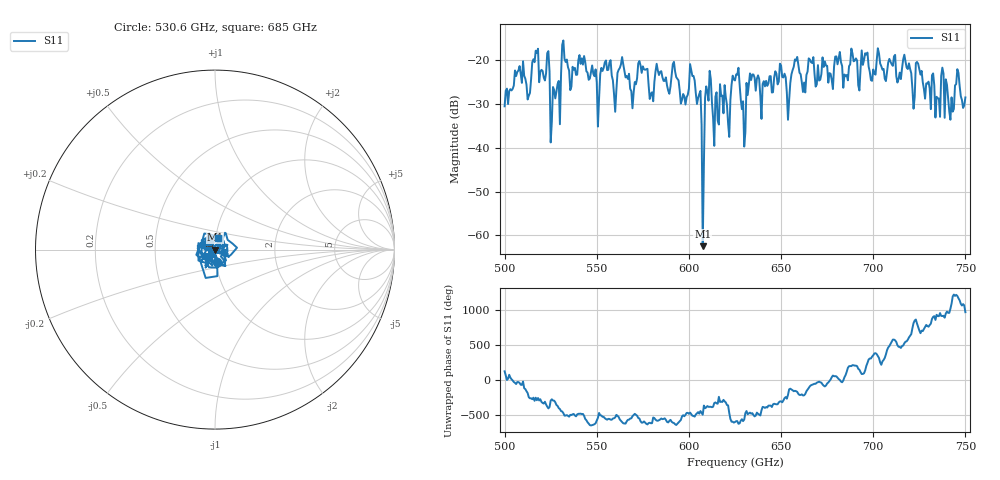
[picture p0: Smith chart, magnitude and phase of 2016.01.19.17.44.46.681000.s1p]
!Created with skrf (http://scikit-rf.org).
# GHz S RI R 50.0
!freq ReS11 ImS11
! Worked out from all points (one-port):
!   401 points, 500 GHz to 750 GHz, reference 50 ohm
!   lowest |S11| = -62.4 dB at 607.5 GHz (marker M1), VSWR 1.00, Z = 50 - j0.0572 ohm
!   |S11| at or under -10 dB: start of sweep to end of sweep
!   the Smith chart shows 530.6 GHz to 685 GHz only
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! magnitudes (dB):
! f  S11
! 500 GHz  -30.6
! 506.9 GHz  -22.8
! 513.1 GHz  -28.2
! 516.9 GHz  -17.9
! 523.1 GHz  -18.5
! 526.2 GHz  -26.2
! 531.2 GHz  -16.6
! 550 GHz  -25.2
! 556.2 GHz  -22.3
! 559.4 GHz  -27.9
! 562.5 GHz  -21.8
! 569.4 GHz  -31.0
! 573.8 GHz  -21.3
! 579.4 GHz  -27.7
! 593.8 GHz  -24.3
! 596.9 GHz  -27.8
! 601.9 GHz  -23.7
! 607.5 GHz  -62.4
! 610.6 GHz  -29.3
! 621.2 GHz  -34.5
! 625 GHz  -24.7
! 629.4 GHz  -29.4
! 634.4 GHz  -23.3
! 653.8 GHz  -33.6
! 656.2 GHz  -22.3
! 687.5 GHz  -21.0
! 718.8 GHz  -22.1
! 750 GHz  -28.6
